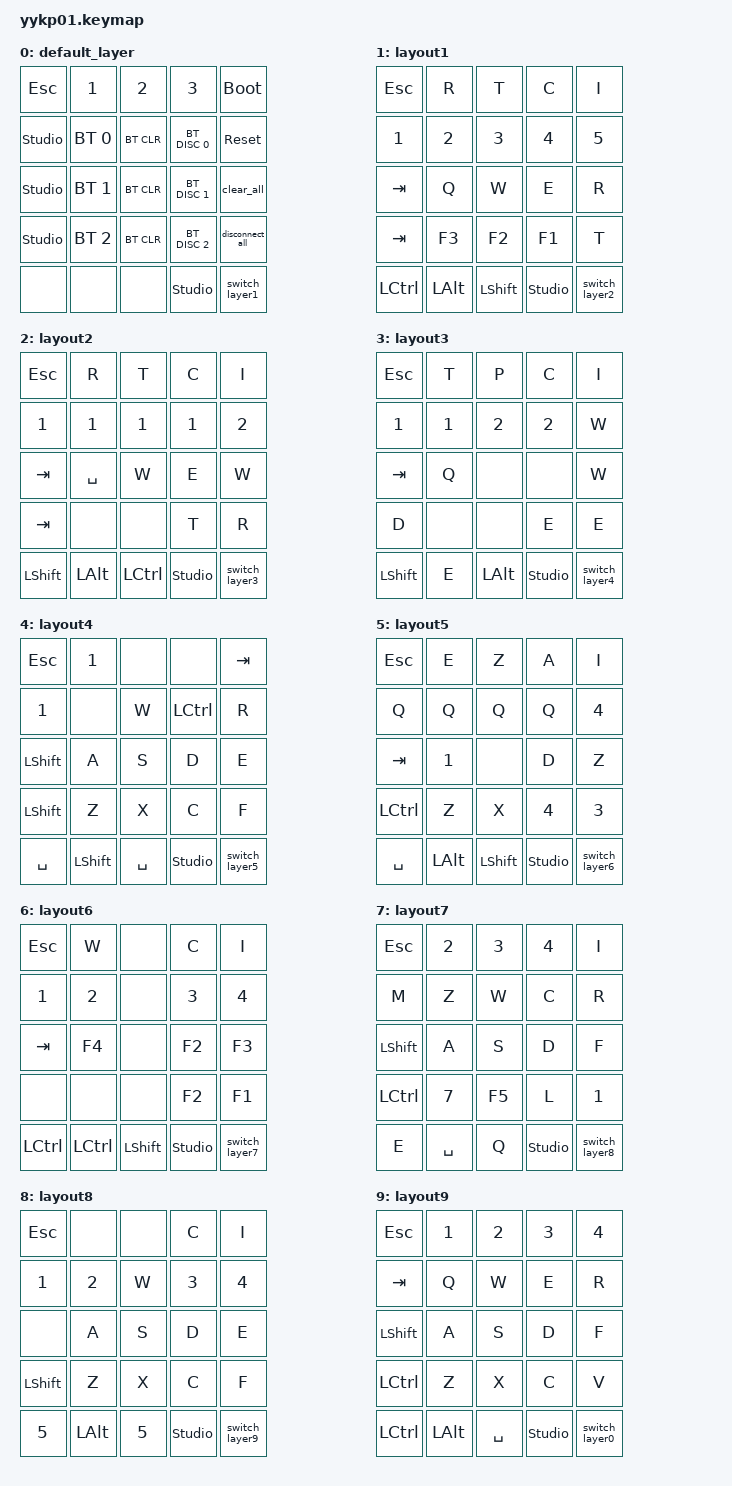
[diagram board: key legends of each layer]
#include <behaviors.dtsi>
#include <dt-bindings/zmk/keys.h>
#include <dt-bindings/zmk/backlight.h>
#include <dt-bindings/zmk/bt.h>
#include <dt-bindings/zmk/ext_power.h>
#include <dt-bindings/zmk/outputs.h>
#include <dt-bindings/zmk/rgb.h>

/ {
    macros {

disconnect_all: disconnect_all {
    compatible = "zmk,behavior-macro";
    #binding-cells = <0>;
    wait-ms = <200>;
    tap-ms = <40>;
    bindings = <
        &bt BT_SEL 4
        &bt BT_DISC 0
        &bt BT_DISC 1
        &bt BT_DISC 2
        &bt BT_DISC 3
        &bt BT_DISC 4
    >;
};

clear_all: clear_all {
            compatible = "zmk,behavior-macro";
            #binding-cells = <0>;
            bindings =
                <&bt BT_SEL 4>,
                <&bt BT_CLR>,
                <&bt BT_SEL 3>,
                <&bt BT_CLR>,
                <&bt BT_SEL 2>,
                <&bt BT_CLR>,
                <&bt BT_SEL 1>,
                <&bt BT_CLR>,
                <&bt BT_SEL 0>,
                <&bt BT_CLR>;
        };

switch_layer0: switch_layer0 {
        label = "SWITCH_LAYER0";
        compatible = "zmk,behavior-macro";
        #binding-cells = <0>;
        wait-ms = <40>;
        tap-ms = <40>;
        bindings = <
            &to 0
            &kp LS(A)
            &kp LS(L)
            &kp N0
            &kp HASH
        >;
    };

    switch_layer1: switch_layer1 {
        label = "SWITCH_LAYER1";
        compatible = "zmk,behavior-macro";
        #binding-cells = <0>;
        wait-ms = <40>;
        tap-ms = <40>;
        bindings = <
            &to 1
            &kp LS(A)
            &kp LS(L)
            &kp N1
            &kp HASH
        >;
    };

    switch_layer2: switch_layer2 {
        label = "SWITCH_LAYER2";
        compatible = "zmk,behavior-macro";
        #binding-cells = <0>;
        wait-ms = <40>;
        tap-ms = <40>;
        bindings = <
            &to 2
            &kp LS(A)
            &kp LS(L)
            &kp N2
            &kp HASH
        >;
    };

    switch_layer3: switch_layer3 {
        label = "SWITCH_LAYER3";
        compatible = "zmk,behavior-macro";
        #binding-cells = <0>;
        wait-ms = <40>;
        tap-ms = <40>;
        bindings = <
            &to 3
            &kp LS(A)
            &kp LS(L)
            &kp N3
            &kp HASH
        >;
    };

    switch_layer4: switch_layer4 {
        label = "SWITCH_LAYER4";
        compatible = "zmk,behavior-macro";
        #binding-cells = <0>;
        wait-ms = <40>;
        tap-ms = <40>;
        bindings = <
            &to 4
            &kp LS(A)
            &kp LS(L)
            &kp N4
            &kp HASH
        >;
    };

    switch_layer5: switch_layer5 {
        label = "SWITCH_LAYER5";
        compatible = "zmk,behavior-macro";
        #binding-cells = <0>;
        wait-ms = <40>;
        tap-ms = <40>;
        bindings = <
            &to 5
            &kp LS(A)
            &kp LS(L)
            &kp N5
            &kp HASH
        >;
    };

    switch_layer6: switch_layer6 {
        label = "SWITCH_LAYER6";
        compatible = "zmk,behavior-macro";
        #binding-cells = <0>;
        wait-ms = <40>;
        tap-ms = <40>;
        bindings = <
            &to 6
            &kp LS(A)
            &kp LS(L)
            &kp N6
            &kp HASH
        >;
    };

    switch_layer7: switch_layer7 {
        label = "SWITCH_LAYER7";
        compatible = "zmk,behavior-macro";
        #binding-cells = <0>;
        wait-ms = <40>;
        tap-ms = <40>;
        bindings = <
            &to 7
            &kp LS(A)
            &kp LS(L)
            &kp N7
            &kp HASH
        >;
    };

    switch_layer8: switch_layer8 {
        label = "SWITCH_LAYER8";
        compatible = "zmk,behavior-macro";
        #binding-cells = <0>;
        wait-ms = <40>;
        tap-ms = <40>;
        bindings = <
            &to 8
            &kp LS(A)
            &kp LS(L)
            &kp N8
            &kp HASH
        >;
    };

    switch_layer9: switch_layer9 {
        label = "SWITCH_LAYER9";
        compatible = "zmk,behavior-macro";
        #binding-cells = <0>;
        wait-ms = <40>;
        tap-ms = <40>;
        bindings = <
            &to 9
            &kp LS(A)
            &kp LS(L)
            &kp N9
            &kp HASH
        >;
    };

    d2r_cta_buff: d2r_cta_buff {
        label = "D2R_CTA_BUFF";
        compatible = "zmk,behavior-macro";
        #binding-cells = <0>;
        wait-ms = <500>; // Time between key presses
        tap-ms = <100>;  // How long each key is held down
        bindings = <
            &kp W
            &kp F6
            &kp F7
            &kp F8
            &kp W
        >;
    };

    };

    keymap {
        compatible = "zmk,keymap";

        default_layer {
            bindings = <
                &kp ESC           &kp N1              &kp N2              &kp N3                 &bootloader
                &studio_unlock    &bt BT_SEL 0        &bt BT_CLR          &bt BT_DISC 0          &sys_reset
                &studio_unlock    &bt BT_SEL 1        &bt BT_CLR          &bt BT_DISC 1          &clear_all
                &studio_unlock    &bt BT_SEL 2        &bt BT_CLR          &bt BT_DISC 2          &disconnect_all
                &none             &none               &none               &studio_unlock         &switch_layer1
            >;
        };

        layout1 {
            bindings = <
                &kp ESC    &kp R         &kp T        &kp C          &kp I
                &kp N1     &kp N2        &kp N3       &kp N4         &kp N5
                &kp TAB    &kp Q         &kp W        &kp E          &kp R
                &kp TAB    &kp F3        &kp F2       &kp F1         &kp T
                &kp LCTRL  &kp LALT      &kp LSHFT    &studio_unlock &switch_layer2
            >;
        };

        layout2 {
            bindings = <
                &kp ESC    &kp R         &kp T        &kp C          &kp I
                &kp N1     &kp N1        &kp N1       &kp N1         &kp N2
                &kp TAB    &kp SPACE     &kp W        &kp E          &kp W
                &kp TAB    &none         &none        &kp T          &kp R
                &kp LSHFT  &kp LALT      &kp LCTRL    &studio_unlock &switch_layer3
            >;
        };

        layout3 {
            bindings = <
                &kp ESC    &kp T         &kp P        &kp C          &kp I
                &kp N1     &kp N1        &kp N2       &kp N2         &kp W
                &kp TAB    &kp Q         &none        &none          &kp W
                &kp D      &none         &none        &kp E          &kp E
                &kp LSHFT  &kp E         &kp LALT     &studio_unlock &switch_layer4
            >;
        };

        layout4 {
            bindings = <
                &kp ESC    &kp N1        &none        &none          &kp TAB
                &kp N1     &none         &kp W        &kp LCTRL      &kp R
                &kp LSHFT  &kp A         &kp S        &kp D          &kp E
                &kp LSHFT  &kp Z         &kp X        &kp C          &kp F
                &kp SPACE  &kp LSHFT     &kp SPACE    &studio_unlock &switch_layer5
            >;
        };

        layout5 {
            bindings = <
                &kp ESC    &kp E         &kp Z        &kp A          &kp I
                &kp Q      &kp Q         &kp Q        &kp Q          &kp N4
                &kp TAB    &kp N1        &none        &kp D          &kp Z
                &kp LCTRL  &kp Z         &kp X        &kp N4         &kp N3
                &kp SPACE  &kp LALT      &kp LSHFT    &studio_unlock &switch_layer6
            >;
        };

        layout6 {
            bindings = <
                &kp ESC    &kp W         &none        &kp C          &kp I
                &kp N1     &kp N2        &none        &kp N3         &kp N4
                &kp TAB    &kp F4        &none        &kp F2         &kp F3
                &none      &none         &none        &kp F2         &kp F1
                &kp LCTRL  &kp LCTRL     &kp LSHFT    &studio_unlock &switch_layer7
            >;
        };

        layout7 {
            bindings = <                                        
                &kp ESC    &kp N2        &kp N3       &kp N4         &kp I
                &kp M      &kp Z         &kp W        &kp C          &kp R
                &kp LSHFT  &kp A         &kp S        &kp D          &kp F
                &kp LCTRL  &kp N7        &kp F5       &kp L          &kp N1
                &kp E      &kp SPACE     &kp Q        &studio_unlock &switch_layer8
            >;
        };

        layout8 {
            bindings = <
                &kp ESC    &none         &none        &kp C          &kp I
                &kp N1     &kp N2        &kp W        &kp N3         &kp N4
                &none      &kp A         &kp S        &kp D          &kp E
                &kp LSHFT  &kp Z         &kp X        &kp C          &kp F
                &kp N5     &kp LALT      &kp N5       &studio_unlock &switch_layer9
            >;
        };

        layout9 {
            bindings = <
                &kp ESC    &kp N1        &kp N2       &kp N3         &kp N4
                &kp TAB    &kp Q         &kp W        &kp E          &kp R
                &kp LSHFT  &kp A         &kp S        &kp D          &kp F
                &kp LCTRL  &kp Z         &kp X        &kp C          &kp V
                &kp LCTRL  &kp LALT      &kp SPACE    &studio_unlock &switch_layer0
            >;
        };
    };
    
};
